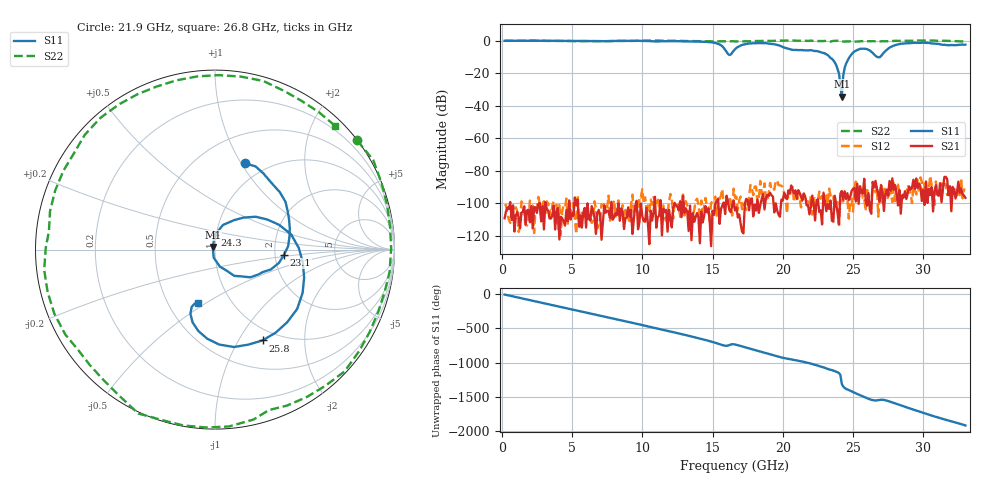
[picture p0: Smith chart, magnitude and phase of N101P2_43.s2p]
# GHZ S RI R 50
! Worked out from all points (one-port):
!   329 points, 200 MHz to 33 GHz, reference 50 ohm
!   lowest |S11| = -34.3 dB at 24.2 GHz (marker M1), VSWR 1.04, Z = 48.7 + j1.39 ohm
!   |S11| at or under -10 dB: 23.34 GHz to 24.76 GHz (1.417 GHz wide, 5.89 % of centre); 26.75 GHz to 26.91 GHz (164.6 MHz wide, 0.614 % of centre)
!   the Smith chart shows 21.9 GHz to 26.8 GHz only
!   S11 on the Smith chart (normalised r, x): 21.9 GHz: 0.80, +1.04; 23.1 GHz: 2.24, -0.15; 24.3 GHz: 0.99, +0.16; 25.8 GHz: 0.85, -1.27; 26.8 GHz: 0.70, -0.46
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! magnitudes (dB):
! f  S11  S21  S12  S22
! 200 MHz  0.0  -109.3  -101.7  0.0
! 5.7 GHz  -0.2  -115.0  -104.9  -0.2
! 11.2 GHz  -0.3  -107.7  -103.4  0.1
! 15.1 GHz  -1.2  -107.2  -97.7  -0.4
! 15.6 GHz  -2.7  -103.7  -95.3  -0.3
! 16.2 GHz  -8.8  -104.3  -96.0  -0.3
! 16.6 GHz  -5.2  -104.5  -96.7  -0.4
! 18.4 GHz  -1.4  -101.1  -86.3  -0.1
! 21.9 GHz  -5.9  -106.9  -106.1  0.0
! 22.1 GHz  -6.0  -95.4  -107.1  0.0
! 23.1 GHz  -8.3  -105.0  -95.2  -0.2
! 23.8 GHz  -14.8  -100.8  -102.1  0.0
! 24 GHz  -20.1  -113.0  -113.5  0.1
! 24.2 GHz  -34.3  -92.5  -98.2  -0.4
! 24.3 GHz  -21.9  -97.8  -99.0  -0.5
! 24.5 GHz  -14.2  -97.4  -95.2  -0.4
! 24.8 GHz  -9.4  -96.2  -99.1  -0.4
! 25.8 GHz  -4.9  -85.0  -96.3  -0.3
! 26.8 GHz  -10.1  -94.0  -108.3  -0.3
! 27.6 GHz  -4.2  -86.3  -93.8  -0.2
! 29.4 GHz  -1.2  -91.2  -91.7  0.0
! 33 GHz  -2.4  -96.8  -91.6  -0.4
